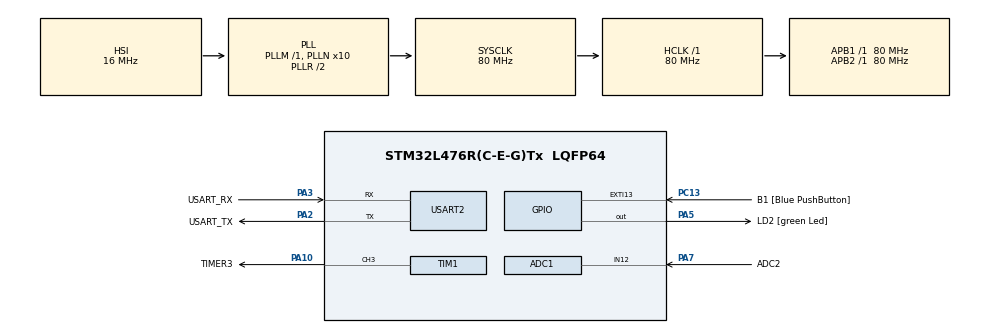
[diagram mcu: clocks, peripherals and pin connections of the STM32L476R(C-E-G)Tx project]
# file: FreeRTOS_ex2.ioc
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ADC1.Channel-1\#ChannelRegularConversion=ADC_CHANNEL_12
ADC1.ClockPrescaler=ADC_CLOCK_ASYNC_DIV8
ADC1.DMAContinuousRequests=ENABLE
ADC1.ExternalTrigConv=ADC_EXTERNALTRIG_T6_TRGO
ADC1.NbrOfConversionFlag=1
ADC1.OffsetNumber-1\#ChannelRegularConversion=ADC_OFFSET_NONE
ADC1.Rank-1\#ChannelRegularConversion=1
ADC1.SamplingTime-1\#ChannelRegularConversion=ADC_SAMPLETIME_640CYCLES_5
ADC1.master=1
Dma.ADC1.0.Direction=DMA_PERIPH_TO_MEMORY
Dma.ADC1.0.Instance=DMA1_Channel1
Dma.ADC1.0.MemDataAlignment=DMA_MDATAALIGN_HALFWORD
Dma.ADC1.0.MemInc=DMA_MINC_ENABLE
Dma.ADC1.0.Mode=DMA_CIRCULAR
Dma.ADC1.0.PeriphDataAlignment=DMA_PDATAALIGN_HALFWORD
Dma.ADC1.0.PeriphInc=DMA_PINC_DISABLE
Dma.ADC1.0.Priority=DMA_PRIORITY_LOW
Dma.Request0=ADC1
Mcu.Family=STM32L4
Mcu.Name=STM32L476R(C-E-G)Tx
Mcu.Package=LQFP64
Mcu.UserConstants=TIM_PRESCALER,7999;TIM_PERIOD,9999
NVIC.DMA1_Channel1_IRQn=true\:0\:0\:false\:false\:true\:false\:true\:true
NVIC.PriorityGroup=NVIC_PRIORITYGROUP_4
NVIC.TIM6_DAC_IRQn=true\:0\:0\:false\:false\:true\:true\:true\:true
PA10.GPIO_Label=TIMER3
PA10.Signal=S_TIM1_CH3
PA13\ (JTMS-SWDIO).GPIO_Label=TMS
PA13\ (JTMS-SWDIO).Mode=Serial_Wire
PA13\ (JTMS-SWDIO).Signal=SYS_JTMS-SWDIO
PA14\ (JTCK-SWCLK).GPIO_Label=TCK
PA14\ (JTCK-SWCLK).Mode=Serial_Wire
PA14\ (JTCK-SWCLK).Signal=SYS_JTCK-SWCLK
PA2.GPIO_Label=USART_TX
PA2.GPIO_Mode=GPIO_MODE_AF_PP
PA2.GPIO_PuPd=GPIO_NOPULL
PA2.GPIO_Speed=GPIO_SPEED_FREQ_VERY_HIGH
PA2.Mode=Asynchronous
PA2.Signal=USART2_TX
PA3.GPIO_Label=USART_RX
PA3.GPIO_Mode=GPIO_MODE_AF_PP
PA3.GPIO_PuPd=GPIO_NOPULL
PA3.GPIO_Speed=GPIO_SPEED_FREQ_VERY_HIGH
PA3.Mode=Asynchronous
PA3.Signal=USART2_RX
PA5.GPIO_Label=LD2 [green Led]
PA5.GPIO_ModeDefaultOutputPP=GPIO_MODE_OUTPUT_PP
PA5.GPIO_PuPd=GPIO_NOPULL
PA5.GPIO_Speed=GPIO_SPEED_FREQ_LOW
PA5.Signal=GPIO_Output
PA7.GPIO_Label=ADC2
PA7.Signal=ADCx_IN12
PB3\ (JTDO-TRACESWO).GPIO_Label=SWO
PB3\ (JTDO-TRACESWO).Signal=SYS_JTDO-SWO
PC13.GPIO_Label=B1 [Blue PushButton]
PC13.GPIO_ModeDefaultEXTI=GPIO_MODE_IT_FALLING
PC13.GPIO_PuPd=GPIO_NOPULL
PC13.Signal=GPXTI13
PC14-OSC32_IN\ (PC14).Mode=LSE-External-Oscillator
PC14-OSC32_IN\ (PC14).Signal=RCC_OSC32_IN
PC15-OSC32_OUT\ (PC15).Mode=LSE-External-Oscillator
PC15-OSC32_OUT\ (PC15).Signal=RCC_OSC32_OUT
PH0-OSC_IN\ (PH0).Signal=RCC_OSC_IN
PH1-OSC_OUT\ (PH1).Signal=RCC_OSC_OUT
ProjectManager.HeapSize=0x200
ProjectManager.StackSize=0x400
ProjectManager.TargetToolchain=CMake
RCC.ADCFreq_Value=64000000
RCC.AHBFreq_Value=80000000
RCC.APB1Freq_Value=80000000
RCC.APB1TimFreq_Value=80000000
RCC.APB2Freq_Value=80000000
RCC.APB2TimFreq_Value=80000000
RCC.CortexFreq_Value=80000000
RCC.HCLKFreq_Value=80000000
RCC.HSE_VALUE=8000000
RCC.HSI_VALUE=16000000
RCC.MSI_VALUE=4000000
RCC.PLLN=10
RCC.PLLSourceVirtual=RCC_PLLSOURCE_HSI
RCC.PREFETCH_ENABLE=1
RCC.SYSCLKFreq_VALUE=80000000
RCC.SYSCLKSource=RCC_SYSCLKSOURCE_PLLCLK
RCC.USBFreq_Value=64000000
RCC.VCOOutputFreq_Value=160000000
SH.ADCx_IN12.0=ADC1_IN12,IN12-Single-Ended
SH.S_TIM1_CH3.0=TIM1_CH3,PWM Generation3 CH3
TIM1.Channel-PWM\ Generation3\ CH3=TIM_CHANNEL_3
TIM1.Period=5999
TIM1.Prescaler=39999
TIM1.Pulse-PWM\ Generation3\ CH3=2999
TIM6.Period=TIM_PERIOD
TIM6.Prescaler=TIM_PRESCALER
TIM6.TIM_MasterOutputTrigger=TIM_TRGO_UPDATE
USART2.VirtualMode-Asynchronous=VM_ASYNC
VP_TIM6_VS_ClockSourceINT.Mode=Enable_Timer
board=NUCLEO-L476RG

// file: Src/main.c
/* USER CODE BEGIN Header */
/**
 ******************************************************************************
 * @file           : main.c
 * @brief          : Main program body
 ******************************************************************************
 * @attention
 *
 * <h2><center>&copy; Copyright (c) 2019 STMicroelectronics.
 * All rights reserved.</center></h2>
 *
 * This software component is licensed by ST under BSD 3-Clause license,
 * the "License"; You may not use this file except in compliance with the
 * License. You may obtain a copy of the License at:
 *                        opensource.org/licenses/BSD-3-Clause
 *
 ******************************************************************************
 */
/* USER CODE END Header */
#include "main.h"
#include "adc.h"
#include "dma.h"
#include "projdefs.h"
#include "stm32l4xx_hal.h"
#include "stm32l4xx_hal_def.h"
#include "tim.h"
#include "usart.h"
#include "gpio.h"

/* USER CODE BEGIN Includes */
#include <stdint.h>
#include <stdio.h>
#include "FreeRTOS.h"
#include "task.h"
#include "queue.h"
#include "semphr.h"
// --> include all necessary headers for
// printf() redirection
// FreeRTOS related headers
/* USER CODE END Includes */

void SystemClock_Config(void);

/* USER CODE BEGIN 0 */

typedef struct
{
  uint16_t value;
  uint32_t counter;
} elem_t;

int _write(int file, char *ptr, int len) {
	HAL_UART_Transmit(&huart2, (uint8_t*) ptr, len, 50);
	return len;
}

enum QueueStatus {
	QueueOK, QueueWriteProblem, QueueEmpty, QueueCantRead
};

enum QueueMessages {
	QueueMsgNoData, QueueMsgNewData, QueueMsgNewDataChange,
};

volatile uint16_t measurement;

uint8_t queueError = QueueOK;
SemaphoreHandle_t mutex;
QueueHandle_t queue;

void measureTask(void *args) {
	TickType_t xLastWakeTime;
	BaseType_t xStatus;
	uint32_t measure_counter = 0;

	xLastWakeTime = xTaskGetTickCount();

	for (;;) {
		elem_t elem;
		elem.value = measurement;
		elem.counter = measure_counter;

		xStatus = xQueueOverwrite(queue, (void *)&elem);

		measure_counter++;
		vTaskDelayUntil(&xLastWakeTime, pdMS_TO_TICKS(1000));
	}
}

void commTask(void *args) {
	TickType_t xLastWakeTime;
	BaseType_t xStatus;
	elem_t tmp_elem;
	uint32_t last_counter = 0;

	xLastWakeTime = xTaskGetTickCount();

	for (;;) {
		xStatus = xQueuePeek(queue, &tmp_elem, 0);

		if (xStatus != pdPASS) {
			printf("Queue is empty\r\n");
		} else if (last_counter == tmp_elem.counter) {
			printf("No new value\r\n");
		} else {
			printf("time: %lu, measured value: %u,  counter: %lu\r\n",HAL_GetTick(), tmp_elem.value, (unsigned long)tmp_elem.counter);
			last_counter = tmp_elem.counter;
		}

		vTaskDelayUntil(&xLastWakeTime, pdMS_TO_TICKS(400));
	}
}

/* USER CODE END 0 */

int main(void)
{

  /* MCU Configuration--------------------------------------------------------*/

  /* Reset of all peripherals, Initializes the Flash interface and the Systick. */
  HAL_Init();

  /* Configure the system clock */
  SystemClock_Config();

  /* Initialize all configured peripherals */
  MX_GPIO_Init();
  MX_DMA_Init();
  MX_USART2_UART_Init();
  MX_ADC1_Init();
  MX_TIM6_Init();
  MX_TIM1_Init();
  /* USER CODE BEGIN 2 */

  HAL_TIM_PWM_Start(&htim1, TIM_CHANNEL_3);
  HAL_ADC_Start_DMA(&hadc1, (uint32_t*)&measurement, 1);
  HAL_TIM_Base_Start_IT(&htim6);
  // HAL_ADC_Start_DMA(&hadc1, (uint32_t *) &measurement, 1);

	// --> start TIM1 to generate PWM signal on TIMER3 connector
	// --> start TIM6 in interrupt
	// --> start ADC1 in DMA mode
	// --> create a mutex
	// --> create a queue
	// --> create all necessary task

  queue = xQueueCreate(1, sizeof(elem_t));
  vQueueAddToRegistry(queue, "queue");

  mutex = xSemaphoreCreateMutex();

	printf("Starting!\r\n");

	// --> start FreeRTOS scheduler
  xTaskCreate( measureTask, "measure_task", 256, NULL, 1, NULL);
  xTaskCreate( commTask, "comm_task", 256, NULL, 1, NULL);

  vTaskStartScheduler();

  /* USER CODE END 2 */

  /* Infinite loop */
	while (1) {
    // printf("ADC: %i, time: %lu\r\n", measurement, HAL_GetTick());
    // HAL_Delay(1000);
	}
}

void SystemClock_Config(void)
{
  RCC_OscInitTypeDef RCC_OscInitStruct = {0};
  RCC_ClkInitTypeDef RCC_ClkInitStruct = {0};

  /** Configure the main internal regulator output voltage
  */
  if (HAL_PWREx_ControlVoltageScaling(PWR_REGULATOR_VOLTAGE_SCALE1) != HAL_OK)
  {
    Error_Handler();
  }

  /** Initializes the RCC Oscillators according to the specified parameters
  * in the RCC_OscInitTypeDef structure.
  */
  RCC_OscInitStruct.OscillatorType = RCC_OSCILLATORTYPE_HSI;
  RCC_OscInitStruct.HSIState = RCC_HSI_ON;
  RCC_OscInitStruct.HSICalibrationValue = RCC_HSICALIBRATION_DEFAULT;
  RCC_OscInitStruct.PLL.PLLState = RCC_PLL_ON;
  RCC_OscInitStruct.PLL.PLLSource = RCC_PLLSOURCE_HSI;
  RCC_OscInitStruct.PLL.PLLM = 1;
  RCC_OscInitStruct.PLL.PLLN = 10;
  RCC_OscInitStruct.PLL.PLLP = RCC_PLLP_DIV7;
  RCC_OscInitStruct.PLL.PLLQ = RCC_PLLQ_DIV2;
  RCC_OscInitStruct.PLL.PLLR = RCC_PLLR_DIV2;
  if (HAL_RCC_OscConfig(&RCC_OscInitStruct) != HAL_OK)
  {
    Error_Handler();
  }

  /** Initializes the CPU, AHB and APB buses clocks
  */
  RCC_ClkInitStruct.ClockType = RCC_CLOCKTYPE_HCLK|RCC_CLOCKTYPE_SYSCLK
                              |RCC_CLOCKTYPE_PCLK1|RCC_CLOCKTYPE_PCLK2;
  RCC_ClkInitStruct.SYSCLKSource = RCC_SYSCLKSOURCE_PLLCLK;
  RCC_ClkInitStruct.AHBCLKDivider = RCC_SYSCLK_DIV1;
  RCC_ClkInitStruct.APB1CLKDivider = RCC_HCLK_DIV1;
  RCC_ClkInitStruct.APB2CLKDivider = RCC_HCLK_DIV1;

  if (HAL_RCC_ClockConfig(&RCC_ClkInitStruct, FLASH_LATENCY_4) != HAL_OK)
  {
    Error_Handler();
  }
}

void Error_Handler(void)
{
}
